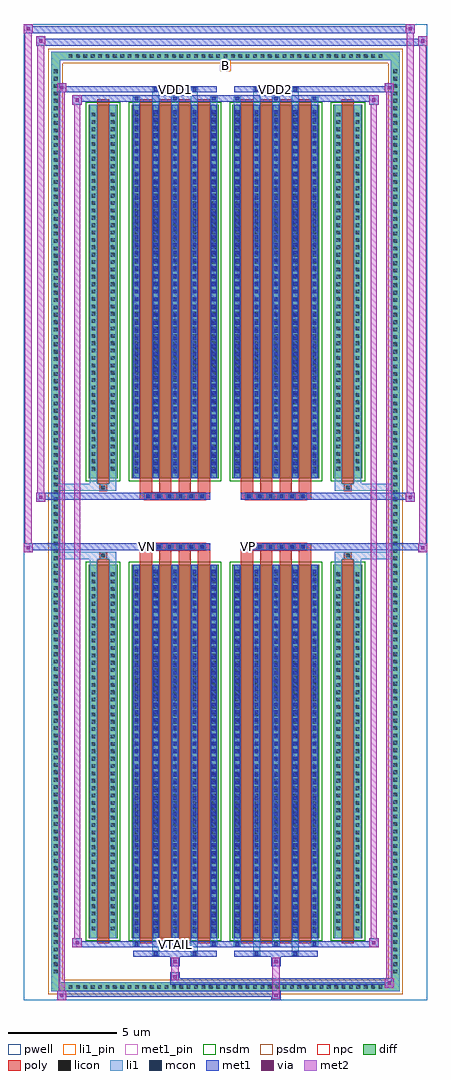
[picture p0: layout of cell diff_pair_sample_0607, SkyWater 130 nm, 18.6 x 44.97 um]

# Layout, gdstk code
import gdstk
lib = gdstk.Library(unit=1e-6, precision=5e-09)
def R(c, l, rs):  # rectangles x0, y0, x1, y1
    for r in rs: c.add(gdstk.rectangle(r[:2], r[2:], *l))
def A(c, l, x, y, w, h, nx, ny, dx, dy):  # array of equal rectangles
    R(c, l, [(x+i*dx, y+j*dy, x+i*dx+w, y+j*dy+h) for i in range(nx) for j in range(ny)])
def P(c, l, *ps):  # polygons
    for p in ps: c.add(gdstk.Polygon(p, *l))
pwell = (64, 44)
diff = (65, 20)
poly = (66, 20)
licon = (66, 44)
li1_pin = (67, 16)
li1 = (67, 20)
mcon = (67, 44)
met1_pin = (68, 16)
met1 = (68, 20)
via = (68, 44)
met2 = (69, 20)
nsdm = (93, 44)
psdm = (94, 20)
npc = (95, 20)

diff_pair_sample_0607 = lib.new_cell('diff_pair_sample_0607')
R(diff_pair_sample_0607, pwell, [(-9.3,-22.05,9.3,22.92), (-6.62,-20.24,-0.01,-0.8), (0.01,-20.24,6.62,-0.8), (-6.62,0.8,-0.01,20.24), (0.01,0.8,6.62,20.24)])
A(diff_pair_sample_0607, diff, -7.345, -21.65, 0.41, 0.41, 43, 2, 0.34, 42.89)
A(diff_pair_sample_0607, diff, -8.03, -20.945, 0.41, 0.41, 1, 123, 0, 0.34)
A(diff_pair_sample_0607, diff, 7.62, -20.945, 0.41, 0.41, 1, 123, 0, 0.34)
R(diff_pair_sample_0607, diff, [(-7.345,-21.65,7.345,-21.24), (-8.03,-20.945,-7.62,20.945), (7.62,-20.945,8.03,20.945), (-6.31,-19.195,-4.97,-1.985), (-4.33,-19.195,-0.32,-1.985), (0.32,-19.195,4.33,-1.985), (4.97,-19.195,6.31,-1.985), (-6.31,1.985,-4.97,19.195), (-4.33,1.985,-0.32,19.195), (0.32,1.985,4.33,19.195), (4.97,1.985,6.31,19.195), (-7.345,21.24,7.345,21.65)])
P(diff_pair_sample_0607, diff, [(8.03,21.65),(-8.03,21.65),(-8.03,-21.24),(-7.62,-21.24),(-7.62,21.24),(7.62,21.24),(7.62,-21.24),(-7.62,-21.24),(-8.03,-21.24),(-8.03,-21.65),(8.03,-21.65)])
A(diff_pair_sample_0607, poly, -3.94, -19.445, 0.56, 17.71, 4, 2, 0.89, 21.18)
A(diff_pair_sample_0607, poly, 0.71, -19.445, 0.56, 17.71, 4, 2, 0.89, 21.18)
A(diff_pair_sample_0607, poly, -3.94, -1.735, 0.56, 0.405, 4, 2, 0.89, 3.065)
A(diff_pair_sample_0607, poly, 0.71, -1.735, 0.56, 0.405, 4, 2, 0.89, 3.065)
A(diff_pair_sample_0607, poly, -3.74, -1.33, 0.33, 0.33, 6, 2, 0.5, 2.33)
A(diff_pair_sample_0607, poly, 0.91, -1.33, 0.33, 0.33, 6, 2, 0.5, 2.33)
R(diff_pair_sample_0607, poly, [(-5.92,-19.445,-5.36,-1.735), (5.36,-19.445,5.92,-1.735), (-5.805,-1.735,-5.475,-1.405), (-5.805,-1.735,-5.475,-1.405), (5.475,-1.735,5.805,-1.405), (5.475,-1.735,5.805,-1.405), (-3.94,-1.33,-0.71,-1), (0.71,-1.33,3.94,-1), (-3.94,1,-0.71,1.33), (0.71,1,3.94,1.33), (-5.805,1.405,-5.475,1.735), (-5.805,1.405,-5.475,1.735), (5.475,1.405,5.805,1.735), (5.475,1.405,5.805,1.735), (-5.92,1.735,-5.36,19.445), (5.36,1.735,5.92,19.445)])
A(diff_pair_sample_0607, licon, -7.225, -21.53, 0.17, 0.17, 43, 2, 0.34, 42.89)
A(diff_pair_sample_0607, licon, -7.91, -20.825, 0.17, 0.17, 1, 123, 0, 0.34)
A(diff_pair_sample_0607, licon, 7.74, -20.825, 0.17, 0.17, 1, 123, 0, 0.34)
A(diff_pair_sample_0607, licon, -6.17, -18.835, 0.17, 0.17, 1, 49, 0, 0.34)
A(diff_pair_sample_0607, licon, -5.28, -18.835, 0.17, 0.17, 1, 49, 0, 0.34)
A(diff_pair_sample_0607, licon, -4.19, -18.835, 0.17, 0.17, 5, 49, 0.89, 0.34)
A(diff_pair_sample_0607, licon, 0.46, -18.835, 0.17, 0.17, 5, 49, 0.89, 0.34)
A(diff_pair_sample_0607, licon, 5.11, -18.835, 0.17, 0.17, 1, 49, 0, 0.34)
A(diff_pair_sample_0607, licon, 6, -18.835, 0.17, 0.17, 1, 49, 0, 0.34)
A(diff_pair_sample_0607, licon, -3.66, -1.25, 0.17, 0.17, 6, 2, 0.5, 2.33)
A(diff_pair_sample_0607, licon, 0.99, -1.25, 0.17, 0.17, 6, 2, 0.5, 2.33)
A(diff_pair_sample_0607, licon, -6.17, 2.345, 0.17, 0.17, 1, 49, 0, 0.34)
A(diff_pair_sample_0607, licon, -5.28, 2.345, 0.17, 0.17, 1, 49, 0, 0.34)
A(diff_pair_sample_0607, licon, -4.19, 2.345, 0.17, 0.17, 5, 49, 0.89, 0.34)
A(diff_pair_sample_0607, licon, 0.46, 2.345, 0.17, 0.17, 5, 49, 0.89, 0.34)
A(diff_pair_sample_0607, licon, 5.11, 2.345, 0.17, 0.17, 1, 49, 0, 0.34)
A(diff_pair_sample_0607, licon, 6, 2.345, 0.17, 0.17, 1, 49, 0, 0.34)
R(diff_pair_sample_0607, licon, [(-5.725,-1.655,-5.555,-1.485), (5.555,-1.655,5.725,-1.485), (-5.725,1.485,-5.555,1.655), (5.555,1.485,5.725,1.655)])
R(diff_pair_sample_0607, li1_pin, [(-0.25,20.74,0.25,21.24)])
A(diff_pair_sample_0607, li1, -7.305, -21.61, 0.33, 0.33, 43, 2, 0.34, 42.89)
A(diff_pair_sample_0607, li1, -7.99, -20.905, 0.33, 0.33, 1, 123, 0, 0.34)
A(diff_pair_sample_0607, li1, 7.66, -20.905, 0.33, 0.33, 1, 123, 0, 0.34)
A(diff_pair_sample_0607, li1, -4.27, -19.57, 0.33, 0.375, 3, 2, 1.78, 38.765)
A(diff_pair_sample_0607, li1, -4.19, -19.57, 0.17, 0.17, 3, 2, 1.78, 38.97)
A(diff_pair_sample_0607, li1, 0.38, -19.57, 0.33, 0.375, 3, 2, 1.78, 38.765)
A(diff_pair_sample_0607, li1, 0.46, -19.57, 0.17, 0.17, 3, 2, 1.78, 38.97)
A(diff_pair_sample_0607, li1, -4.27, -19.195, 0.33, 17.21, 5, 2, 0.89, 21.18)
A(diff_pair_sample_0607, li1, 0.38, -19.195, 0.33, 17.21, 5, 2, 0.89, 21.18)
A(diff_pair_sample_0607, li1, -4.19, -18.955, 0.17, 0.17, 5, 47, 0.89, 0.36)
A(diff_pair_sample_0607, li1, -4.19, -18.955, 0.17, 16.73, 5, 2, 0.89, 21.18)
A(diff_pair_sample_0607, li1, 0.46, -18.955, 0.17, 0.17, 5, 47, 0.89, 0.36)
A(diff_pair_sample_0607, li1, 0.46, -18.955, 0.17, 16.73, 5, 2, 0.89, 21.18)
A(diff_pair_sample_0607, li1, -6.25, -18.915, 0.33, 0.33, 1, 49, 0, 0.34)
A(diff_pair_sample_0607, li1, -5.36, -18.915, 0.33, 0.33, 1, 49, 0, 0.34)
A(diff_pair_sample_0607, li1, -4.27, -18.915, 0.33, 0.33, 5, 49, 0.89, 0.34)
A(diff_pair_sample_0607, li1, 0.38, -18.915, 0.33, 0.33, 5, 49, 0.89, 0.34)
A(diff_pair_sample_0607, li1, 5.03, -18.915, 0.33, 0.33, 1, 49, 0, 0.34)
A(diff_pair_sample_0607, li1, 5.92, -18.915, 0.33, 0.33, 1, 49, 0, 0.34)
A(diff_pair_sample_0607, li1, -3.74, -1.33, 0.33, 0.33, 6, 2, 0.5, 2.33)
A(diff_pair_sample_0607, li1, 0.91, -1.33, 0.33, 0.33, 6, 2, 0.5, 2.33)
A(diff_pair_sample_0607, li1, -4.19, 2.225, 0.17, 0.17, 5, 47, 0.89, 0.36)
A(diff_pair_sample_0607, li1, 0.46, 2.225, 0.17, 0.17, 5, 47, 0.89, 0.36)
A(diff_pair_sample_0607, li1, -6.25, 2.265, 0.33, 0.33, 1, 49, 0, 0.34)
A(diff_pair_sample_0607, li1, -5.36, 2.265, 0.33, 0.33, 1, 49, 0, 0.34)
A(diff_pair_sample_0607, li1, -4.27, 2.265, 0.33, 0.33, 5, 49, 0.89, 0.34)
A(diff_pair_sample_0607, li1, 0.38, 2.265, 0.33, 0.33, 5, 49, 0.89, 0.34)
A(diff_pair_sample_0607, li1, 5.03, 2.265, 0.33, 0.33, 1, 49, 0, 0.34)
A(diff_pair_sample_0607, li1, 5.92, 2.265, 0.33, 0.33, 1, 49, 0, 0.34)
R(diff_pair_sample_0607, li1, [(-8.03,-21.65,-7.62,-21.24), (-8.03,-21.65,-7.62,-21.24), (-7.62,-21.65,7.62,-21.24), (7.62,-21.65,8.03,-21.24), (7.62,-21.65,8.03,-21.24), (-8.03,-21.24,-7.62,21.24), (7.62,-21.24,8.03,21.24), (-3.38,-20,-3.05,-19.195), (-3.3,-20,-3.13,-19.83), (-1.6,-20,-1.27,-19.195), (-1.52,-20,-1.35,-19.83), (1.27,-20,1.6,-19.195), (1.35,-20,1.52,-19.83), (3.05,-20,3.38,-19.195), (3.13,-20,3.3,-19.83), (-6.25,-19.195,-5.92,-1.985), (-5.36,-19.195,-5.03,-1.985), (5.03,-19.195,5.36,-1.985), (5.92,-19.195,6.25,-1.985), (-6.25,-1.985,-5.92,-1.405), (-5.36,-1.985,-5.03,-1.405), (5.03,-1.985,5.36,-1.405), (5.92,-1.985,6.25,-1.405), (-8.03,-1.735,-5.805,-1.405), (-6.25,-1.735,-5.805,-1.405), (-5.805,-1.735,-5.475,-1.405), (-5.475,-1.735,-5.03,-1.405), (5.03,-1.735,5.475,-1.405), (5.475,-1.735,5.805,-1.405), (5.475,-1.735,8.03,-1.405), (5.805,-1.735,6.25,-1.405), (-8.03,1.405,-5.805,1.735), (-6.25,1.405,-5.805,1.735), (-6.25,1.405,-5.92,1.985), (-5.805,1.405,-5.475,1.735), (-5.475,1.405,-5.03,1.735), (-5.36,1.405,-5.03,1.985), (5.03,1.405,5.475,1.735), (5.03,1.405,5.36,1.985), (5.475,1.405,5.805,1.735), (5.475,1.405,8.03,1.735), (5.805,1.405,6.25,1.735), (5.92,1.405,6.25,1.985), (-6.25,1.985,-5.92,19.195), (-5.36,1.985,-5.03,19.195), (5.03,1.985,5.36,19.195), (5.92,1.985,6.25,19.195), (-3.38,19.195,-3.05,20), (-1.6,19.195,-1.27,20), (1.27,19.195,1.6,20), (3.05,19.195,3.38,20), (-3.3,19.83,-3.13,20), (-1.52,19.83,-1.35,20), (1.35,19.83,1.52,20), (3.13,19.83,3.3,20), (-8.03,21.24,-7.62,21.65), (-8.03,21.24,-7.62,21.65), (-7.62,21.24,7.62,21.65), (7.62,21.24,8.03,21.65), (7.62,21.24,8.03,21.65)])
A(diff_pair_sample_0607, mcon, -4.19, -19.57, 0.17, 0.17, 3, 2, 1.78, 38.97)
A(diff_pair_sample_0607, mcon, 0.46, -19.57, 0.17, 0.17, 3, 2, 1.78, 38.97)
A(diff_pair_sample_0607, mcon, -4.19, -18.955, 0.17, 0.17, 5, 47, 0.89, 0.36)
A(diff_pair_sample_0607, mcon, 0.46, -18.955, 0.17, 0.17, 5, 47, 0.89, 0.36)
A(diff_pair_sample_0607, mcon, -3.66, -1.25, 0.17, 0.17, 6, 2, 0.5, 2.33)
A(diff_pair_sample_0607, mcon, 0.99, -1.25, 0.17, 0.17, 6, 2, 0.5, 2.33)
A(diff_pair_sample_0607, mcon, -4.19, 2.225, 0.17, 0.17, 5, 47, 0.89, 0.36)
A(diff_pair_sample_0607, mcon, 0.46, 2.225, 0.17, 0.17, 5, 47, 0.89, 0.36)
R(diff_pair_sample_0607, mcon, [(-3.3,-20,-3.13,-19.83), (-1.52,-20,-1.35,-19.83), (1.35,-20,1.52,-19.83), (3.13,-20,3.3,-19.83), (-3.3,19.83,-3.13,20), (-1.52,19.83,-1.35,20), (1.35,19.83,1.52,20), (3.13,19.83,3.3,20)])
R(diff_pair_sample_0607, met1_pin, [(-2.46,-19.61,-2.19,-19.34), (-3.71,-1.29,-3.44,-1.02), (0.94,-1.29,1.21,-1.02), (-2.46,19.79,-2.19,20.06), (2.19,19.79,2.46,20.06)])
A(diff_pair_sample_0607, met1, -4.25, -19.63, 0.29, 0.29, 3, 2, 1.78, 38.97)
A(diff_pair_sample_0607, met1, 0.4, -19.63, 0.29, 0.29, 3, 2, 1.78, 38.97)
A(diff_pair_sample_0607, met1, -4.25, -19.195, 0.29, 17.21, 5, 2, 0.89, 21.18)
A(diff_pair_sample_0607, met1, 0.4, -19.195, 0.29, 17.21, 5, 2, 0.89, 21.18)
A(diff_pair_sample_0607, met1, -4.25, -19.015, 0.29, 0.29, 5, 47, 0.89, 0.36)
A(diff_pair_sample_0607, met1, 0.4, -19.015, 0.29, 0.29, 5, 47, 0.89, 0.36)
A(diff_pair_sample_0607, met1, -3.72, -1.31, 0.29, 0.29, 6, 2, 0.5, 2.33)
A(diff_pair_sample_0607, met1, 0.93, -1.31, 0.29, 0.29, 6, 2, 0.5, 2.33)
A(diff_pair_sample_0607, met1, -4.25, 2.165, 0.29, 0.29, 5, 47, 0.89, 0.36)
A(diff_pair_sample_0607, met1, 0.4, 2.165, 0.29, 0.29, 5, 47, 0.89, 0.36)
R(diff_pair_sample_0607, met1, [(-7.76,-22.05,-7.33,-21.62), (2.11,-22.05,2.54,-21.62), (-7.76,-21.91,2.54,-21.62), (7.33,-21.48,7.76,-21.05), (-2.54,-21.34,7.76,-21.05), (-2.54,-21.2,-2.11,-20.77), (-2.54,-20.49,-2.11,-20.06), (2.11,-20.49,2.54,-20.06), (-4.25,-20.06,-0.4,-19.77), (-3.36,-20.06,-3.07,-19.77), (-1.58,-20.06,-1.29,-19.77), (0.4,-20.06,4.25,-19.77), (1.29,-20.06,1.58,-19.77), (3.07,-20.06,3.36,-19.77), (-7.05,-19.63,-6.62,-19.2), (-7.05,-19.63,-4.25,-19.34), (-4.25,-19.63,-0.4,-19.34), (-0.4,-19.63,0.4,-19.34), (0.4,-19.63,4.25,-19.34), (4.25,-19.63,7.05,-19.34), (6.62,-19.63,7.05,-19.2), (-9.3,-1.43,-8.87,-1), (8.87,-1.43,9.3,-1), (-9.3,-1.33,-0.71,-1), (-3.94,-1.33,-0.71,-1), (0.71,-1.33,3.94,-1), (0.71,-1.33,9.3,-1), (-8.73,0.9,-8.3,1.33), (8.3,0.9,8.73,1.33), (-8.73,1,-3.94,1.33), (-3.94,1,-0.71,1.33), (0.71,1,3.94,1.33), (3.94,1,8.73,1.33), (-7.05,19.2,-6.62,19.63), (6.62,19.2,7.05,19.63), (-7.05,19.34,-4.25,19.63), (-4.25,19.34,-0.4,19.63), (-0.4,19.34,0.4,19.63), (0.4,19.34,4.25,19.63), (4.25,19.34,7.05,19.63), (-7.76,19.77,-7.33,20.2), (-7.76,19.77,-4.25,20.06), (-4.25,19.77,-0.4,20.06), (-3.36,19.77,-3.07,20.06), (-1.58,19.77,-1.29,20.06), (0.4,19.77,4.25,20.06), (1.29,19.77,1.58,20.06), (3.07,19.77,3.36,20.06), (4.25,19.77,7.76,20.06), (7.33,19.77,7.76,20.2), (-8.73,21.92,-8.3,22.35), (-8.73,21.92,-6.62,22.25), (-6.62,21.92,6.62,22.25), (6.62,21.92,9.3,22.25), (8.87,21.92,9.3,22.35), (-9.3,22.49,-8.87,22.92), (-9.3,22.49,-6.62,22.82), (-6.62,22.49,6.62,22.82), (6.62,22.49,8.73,22.82), (8.3,22.49,8.73,22.92)])
R(diff_pair_sample_0607, via, [(-7.62,-21.91,-7.47,-21.76), (2.25,-21.91,2.4,-21.76), (7.47,-21.34,7.62,-21.19), (-2.4,-21.06,-2.25,-20.91), (-2.4,-20.35,-2.25,-20.2), (2.25,-20.35,2.4,-20.2), (-6.91,-19.49,-6.76,-19.34), (6.76,-19.49,6.91,-19.34), (-9.16,-1.29,-9.01,-1.14), (9.01,-1.29,9.16,-1.14), (-8.59,1.04,-8.44,1.19), (8.44,1.04,8.59,1.19), (-6.91,19.34,-6.76,19.49), (6.76,19.34,6.91,19.49), (-7.62,19.91,-7.47,20.06), (7.47,19.91,7.62,20.06), (-8.59,22.06,-8.44,22.21), (9.01,22.06,9.16,22.21), (-9.16,22.63,-9.01,22.78), (8.44,22.63,8.59,22.78)])
R(diff_pair_sample_0607, met2, [(-7.76,-22.05,-7.33,-21.62), (-7.69,-22.05,-7.4,20.2), (-7.4,-22.05,-7.33,-21.62), (-7.71,-22,-7.38,-21.67), (2.16,-22,2.49,-21.67), (2.16,-21.67,2.49,-20.44), (7.33,-21.48,7.76,-21.05), (7.4,-21.48,7.69,20.2), (7.69,-21.48,7.76,-21.05), (7.38,-21.43,7.71,-21.1), (-2.49,-21.15,-2.16,-20.82), (-2.49,-20.82,-2.16,-20.44), (-2.49,-20.44,-2.16,-20.11), (2.16,-20.44,2.49,-20.11), (-7.05,-19.63,-6.62,-19.2), (-6.98,-19.63,-6.69,19.63), (-6.69,-19.63,-6.62,-19.2), (6.62,-19.63,7.05,-19.2), (6.69,-19.63,6.98,19.63), (6.98,-19.63,7.05,-19.2), (-7,-19.58,-6.67,-19.25), (6.67,-19.58,7,-19.25), (-9.3,-1.43,-8.87,-1), (-9.25,-1.43,-8.92,22.92), (-8.92,-1.43,-8.87,-1), (8.87,-1.43,9.3,-1), (8.92,-1.43,9.25,22.35), (9.25,-1.43,9.3,-1), (-9.25,-1.38,-8.92,-1.05), (8.92,-1.38,9.25,-1.05), (-8.73,0.9,-8.3,1.33), (-8.68,0.9,-8.35,22.35), (-8.35,0.9,-8.3,1.33), (8.3,0.9,8.73,1.33), (8.35,0.9,8.68,22.92), (8.68,0.9,8.73,1.33), (-8.68,0.95,-8.35,1.28), (8.35,0.95,8.68,1.28), (-7.05,19.2,-6.62,19.63), (-6.69,19.2,-6.62,19.63), (6.62,19.2,7.05,19.63), (6.98,19.2,7.05,19.63), (-7,19.25,-6.67,19.58), (6.67,19.25,7,19.58), (-7.76,19.77,-7.33,20.2), (-7.4,19.77,-7.33,20.2), (7.33,19.77,7.76,20.2), (7.69,19.77,7.76,20.2), (-7.71,19.82,-7.38,20.15), (7.38,19.82,7.71,20.15), (-8.73,21.92,-8.3,22.35), (-8.35,21.92,-8.3,22.35), (8.87,21.92,9.3,22.35), (9.25,21.92,9.3,22.35), (-8.68,21.97,-8.35,22.3), (8.92,21.97,9.25,22.3), (-9.3,22.49,-8.87,22.92), (-8.92,22.49,-8.87,22.92), (8.3,22.49,8.73,22.92), (8.68,22.49,8.73,22.92), (-9.25,22.54,-8.92,22.87), (8.35,22.54,8.68,22.87)])
R(diff_pair_sample_0607, nsdm, [(-6.44,-19.325,-4.84,-1.855), (-4.46,-19.325,-0.19,-1.855), (0.19,-19.325,4.46,-1.855), (4.84,-19.325,6.44,-1.855), (-6.44,1.855,-4.84,19.325), (-4.46,1.855,-0.19,19.325), (0.19,1.855,4.46,19.325), (4.84,1.855,6.44,19.325)])
P(diff_pair_sample_0607, psdm, [(8.16,21.78),(-8.16,21.78),(-8.16,-21.11),(-7.49,-21.11),(-7.49,21.11),(7.49,21.11),(7.49,-21.11),(-7.49,-21.11),(-8.16,-21.11),(-8.16,-21.78),(8.16,-21.78)])
A(diff_pair_sample_0607, npc, -3.76, -1.35, 0.37, 0.37, 6, 2, 0.5, 2.33)
A(diff_pair_sample_0607, npc, 0.89, -1.35, 0.37, 0.37, 6, 2, 0.5, 2.33)
R(diff_pair_sample_0607, npc, [(-5.825,-1.755,-5.455,-1.385), (5.455,-1.755,5.825,-1.385), (-3.76,-1.35,-2.89,-0.98), (-3.76,-1.35,-2.89,-0.98), (-3.26,-1.35,-2.39,-0.98), (-3.26,-1.35,-2.39,-0.98), (-2.76,-1.35,-1.89,-0.98), (-2.76,-1.35,-1.89,-0.98), (-2.26,-1.35,-1.39,-0.98), (-2.26,-1.35,-1.39,-0.98), (-1.76,-1.35,-0.89,-0.98), (-1.76,-1.35,-0.89,-0.98), (0.89,-1.35,1.76,-0.98), (0.89,-1.35,1.76,-0.98), (1.39,-1.35,2.26,-0.98), (1.39,-1.35,2.26,-0.98), (1.89,-1.35,2.76,-0.98), (1.89,-1.35,2.76,-0.98), (2.39,-1.35,3.26,-0.98), (2.39,-1.35,3.26,-0.98), (2.89,-1.35,3.76,-0.98), (2.89,-1.35,3.76,-0.98), (-3.76,0.98,-2.89,1.35), (-3.76,0.98,-2.89,1.35), (-3.26,0.98,-2.39,1.35), (-3.26,0.98,-2.39,1.35), (-2.76,0.98,-1.89,1.35), (-2.76,0.98,-1.89,1.35), (-2.26,0.98,-1.39,1.35), (-2.26,0.98,-1.39,1.35), (-1.76,0.98,-0.89,1.35), (-1.76,0.98,-0.89,1.35), (0.89,0.98,1.76,1.35), (0.89,0.98,1.76,1.35), (1.39,0.98,2.26,1.35), (1.39,0.98,2.26,1.35), (1.89,0.98,2.76,1.35), (1.89,0.98,2.76,1.35), (2.39,0.98,3.26,1.35), (2.39,0.98,3.26,1.35), (2.89,0.98,3.76,1.35), (2.89,0.98,3.76,1.35), (-5.825,1.385,-5.455,1.755), (5.455,1.385,5.825,1.755)])
diff_pair_sample_0607.add(gdstk.Label('VTAIL', (-2.325,-19.475), layer=68, texttype=5))
diff_pair_sample_0607.add(gdstk.Label('VN', (-3.575,-1.155), layer=68, texttype=5))
diff_pair_sample_0607.add(gdstk.Label('VP', (1.075,-1.155), layer=68, texttype=5))
diff_pair_sample_0607.add(gdstk.Label('B', (0,20.99), layer=67, texttype=5))
diff_pair_sample_0607.add(gdstk.Label('VDD2', (2.325,19.925), layer=68, texttype=5))
diff_pair_sample_0607.add(gdstk.Label('VDD1', (-2.325,19.925), layer=68, texttype=5))

lib.write_gds('diff_pair_sample_0607.gds')
